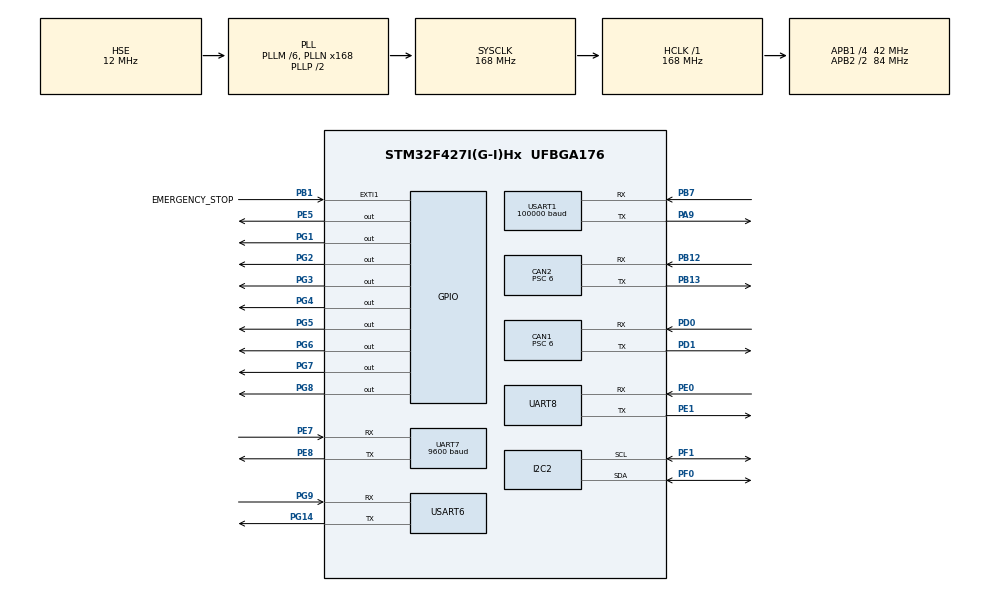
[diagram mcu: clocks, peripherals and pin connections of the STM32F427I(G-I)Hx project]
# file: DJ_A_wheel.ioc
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CAN1.BS1=CAN_BS1_5TQ
CAN1.CalculateBaudRate=1000000
CAN1.CalculateTimeBit=1000
CAN1.CalculateTimeQuantum=142.85714285714286
CAN1.Prescaler=6
CAN2.BS1=CAN_BS1_5TQ
CAN2.CalculateBaudRate=1000000
CAN2.CalculateTimeBit=1000
CAN2.CalculateTimeQuantum=142.85714285714286
CAN2.Prescaler=6
Dma.Request0=USART1_RX
Dma.Request1=USART6_TX
Dma.Request2=UART8_TX
Dma.UART8_TX.2.Direction=DMA_MEMORY_TO_PERIPH
Dma.UART8_TX.2.FIFOMode=DMA_FIFOMODE_DISABLE
Dma.UART8_TX.2.Instance=DMA1_Stream0
Dma.UART8_TX.2.MemDataAlignment=DMA_MDATAALIGN_BYTE
Dma.UART8_TX.2.MemInc=DMA_MINC_ENABLE
Dma.UART8_TX.2.Mode=DMA_NORMAL
Dma.UART8_TX.2.PeriphDataAlignment=DMA_PDATAALIGN_BYTE
Dma.UART8_TX.2.PeriphInc=DMA_PINC_DISABLE
Dma.UART8_TX.2.Priority=DMA_PRIORITY_LOW
Dma.USART1_RX.0.Direction=DMA_PERIPH_TO_MEMORY
Dma.USART1_RX.0.FIFOMode=DMA_FIFOMODE_DISABLE
Dma.USART1_RX.0.Instance=DMA2_Stream2
Dma.USART1_RX.0.MemDataAlignment=DMA_MDATAALIGN_BYTE
Dma.USART1_RX.0.MemInc=DMA_MINC_ENABLE
Dma.USART1_RX.0.Mode=DMA_NORMAL
Dma.USART1_RX.0.PeriphDataAlignment=DMA_PDATAALIGN_BYTE
Dma.USART1_RX.0.PeriphInc=DMA_PINC_DISABLE
Dma.USART1_RX.0.Priority=DMA_PRIORITY_LOW
Dma.USART6_TX.1.Direction=DMA_MEMORY_TO_PERIPH
Dma.USART6_TX.1.FIFOMode=DMA_FIFOMODE_DISABLE
Dma.USART6_TX.1.Instance=DMA2_Stream6
Dma.USART6_TX.1.MemDataAlignment=DMA_MDATAALIGN_BYTE
Dma.USART6_TX.1.MemInc=DMA_MINC_ENABLE
Dma.USART6_TX.1.Mode=DMA_NORMAL
Dma.USART6_TX.1.PeriphDataAlignment=DMA_PDATAALIGN_BYTE
Dma.USART6_TX.1.PeriphInc=DMA_PINC_DISABLE
Dma.USART6_TX.1.Priority=DMA_PRIORITY_LOW
Mcu.Family=STM32F4
Mcu.Name=STM32F427I(G-I)Hx
Mcu.Package=UFBGA176
NVIC.CAN1_RX0_IRQn=true\:1\:0\:true\:false\:true\:true\:true\:true
NVIC.CAN2_RX0_IRQn=true\:0\:0\:false\:false\:true\:true\:true\:true
NVIC.DMA1_Stream0_IRQn=true\:0\:0\:false\:false\:true\:false\:true\:true
NVIC.DMA2_Stream2_IRQn=true\:0\:0\:false\:false\:true\:false\:true\:true
NVIC.DMA2_Stream6_IRQn=true\:0\:0\:false\:false\:true\:false\:true\:true
NVIC.EXTI1_IRQn=true\:7\:0\:true\:false\:true\:true\:true\:true
NVIC.I2C2_EV_IRQn=true\:0\:0\:false\:false\:true\:true\:true\:true
NVIC.PriorityGroup=NVIC_PRIORITYGROUP_4
NVIC.TIM3_IRQn=true\:3\:0\:true\:false\:true\:true\:true\:true
NVIC.TIM8_TRG_COM_TIM14_IRQn=true\:2\:0\:true\:false\:true\:true\:true\:true
NVIC.UART7_IRQn=true\:5\:0\:true\:false\:true\:true\:true\:true
NVIC.UART8_IRQn=true\:0\:0\:false\:false\:true\:true\:true\:true
NVIC.USART1_IRQn=true\:0\:0\:false\:false\:true\:true\:true\:true
NVIC.USART6_IRQn=true\:0\:0\:false\:false\:true\:true\:true\:true
PA13.Mode=Serial_Wire
PA13.Signal=SYS_JTMS-SWDIO
PA14.Mode=Serial_Wire
PA14.Signal=SYS_JTCK-SWCLK
PA6.Signal=S_TIM3_CH1
PA7.Signal=S_TIM3_CH2
PA9.Mode=Asynchronous
PA9.Signal=USART1_TX
PB1.GPIO_Label=EMERGENCY_STOP
PB1.GPIO_ModeDefaultEXTI=GPIO_MODE_IT_FALLING
PB1.GPIO_PuPd=GPIO_PULLUP
PB1.Signal=GPXTI1
PB12.Mode=CAN_Activate
PB12.Signal=CAN2_RX
PB13.Mode=CAN_Activate
PB13.Signal=CAN2_TX
PB7.Mode=Asynchronous
PB7.Signal=USART1_RX
PD0.GPIO_PuPd=GPIO_PULLUP
PD0.Mode=CAN_Activate
PD0.Signal=CAN1_RX
PD1.GPIO_PuPd=GPIO_NOPULL
PD1.Mode=CAN_Activate
PD1.Signal=CAN1_TX
PE0.Mode=Asynchronous
PE0.Signal=UART8_RX
PE1.Mode=Asynchronous
PE1.Signal=UART8_TX
PE5.GPIO_Speed=GPIO_SPEED_FREQ_HIGH
PE5.PinState=GPIO_PIN_SET
PE5.Signal=GPIO_Output
PE7.Mode=Asynchronous
PE7.Signal=UART7_RX
PE8.Mode=Asynchronous
PE8.Signal=UART7_TX
PF0.Mode=I2C
PF0.Signal=I2C2_SDA
PF1.Mode=I2C
PF1.Signal=I2C2_SCL
PG1.PinState=GPIO_PIN_SET
PG1.Signal=GPIO_Output
PG14.Mode=Asynchronous
PG14.Signal=USART6_TX
PG2.PinState=GPIO_PIN_SET
PG2.Signal=GPIO_Output
PG3.PinState=GPIO_PIN_SET
PG3.Signal=GPIO_Output
PG4.PinState=GPIO_PIN_SET
PG4.Signal=GPIO_Output
PG5.PinState=GPIO_PIN_SET
PG5.Signal=GPIO_Output
PG6.PinState=GPIO_PIN_SET
PG6.Signal=GPIO_Output
PG7.PinState=GPIO_PIN_SET
PG7.Signal=GPIO_Output
PG8.PinState=GPIO_PIN_SET
PG8.Signal=GPIO_Output
PG9.Mode=Asynchronous
PG9.Signal=USART6_RX
PH0/OSC_IN.Mode=HSE-External-Oscillator
PH0/OSC_IN.Signal=RCC_OSC_IN
PH1/OSC_OUT.Mode=HSE-External-Oscillator
PH1/OSC_OUT.Signal=RCC_OSC_OUT
ProjectManager.HeapSize=0x200
ProjectManager.StackSize=0x400
ProjectManager.TargetToolchain=CMake
RCC.48MHZClocksFreq_Value=84000000
RCC.AHBFreq_Value=168000000
RCC.APB1CLKDivider=RCC_HCLK_DIV4
RCC.APB1Freq_Value=42000000
RCC.APB1TimFreq_Value=84000000
RCC.APB2CLKDivider=RCC_HCLK_DIV2
RCC.APB2Freq_Value=84000000
RCC.APB2TimFreq_Value=168000000
RCC.CortexFreq_Value=168000000
RCC.HCLKFreq_Value=168000000
RCC.HSE_VALUE=12000000
RCC.HSI_VALUE=16000000
RCC.LSE_VALUE=32768
RCC.PLLM=6
RCC.PLLN=168
RCC.PLLSourceVirtual=RCC_PLLSOURCE_HSE
RCC.SYSCLKFreq_VALUE=168000000
RCC.SYSCLKSource=RCC_SYSCLKSOURCE_PLLCLK
RCC.VCOOutputFreq_Value=336000000
SH.S_TIM3_CH1.0=TIM3_CH1
SH.S_TIM3_CH2.0=TIM3_CH2
TIM14.AutoReloadPreload=TIM_AUTORELOAD_PRELOAD_DISABLE
TIM14.Period=9999
TIM14.Prescaler=83
TIM3.AutoReloadPreload=TIM_AUTORELOAD_PRELOAD_DISABLE
TIM3.Period=9999
TIM3.Prescaler=83
UART7.BaudRate=9600
UART7.VirtualMode=Asynchronous
UART8.VirtualMode=Asynchronous
USART1.BaudRate=100000
USART1.Mode=MODE_RX
USART1.Parity=PARITY_EVEN
USART1.VirtualMode=VM_ASYNC
USART1.WordLength=WORDLENGTH_9B
USART6.VirtualMode=VM_ASYNC
VP_TIM14_VS_ClockSourceINT.Mode=Enable_Timer
VP_TIM3_VS_ClockSourceINT.Mode=Internal
board=custom

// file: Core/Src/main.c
/* USER CODE BEGIN Header */
/**
  ******************************************************************************
  * @file           : main.c
  * @brief          : Main program body
  ******************************************************************************
  * @attention
  *
  * Copyright (c) 2025 STMicroelectronics.
  * All rights reserved.
  *
  * This software is licensed under terms that can be found in the LICENSE file
  * in the root directory of this software component.
  * If no LICENSE file comes with this software, it is provided AS-IS.
  *
  ******************************************************************************
  */
/* USER CODE END Header */
#include "main.h"
#include "can.h"
#include "dma.h"
#include "i2c.h"
#include "tim.h"
#include "usart.h"
#include "gpio.h"

/* USER CODE BEGIN Includes */
#include "PID_TIM.h"
#include "includes.h"
#include "pg_led.h"
#include "imu.h"
/* USER CODE END Includes */

void SystemClock_Config(void);

int main(void)
{

  /* MCU Configuration--------------------------------------------------------*/

  /* Reset of all peripherals, Initializes the Flash interface and the Systick. */
  HAL_Init();

  /* Configure the system clock */
  SystemClock_Config();

  /* Initialize all configured peripherals */
  /* USER CODE BEGIN 2 */
  MX_GPIO_Init();
  MX_DMA_Init();
  MX_CAN1_Init();
  MX_CAN2_Init();
	MX_USART1_UART_Init();   // 遥控
  MX_USART6_UART_Init();   // debug
  MX_UART7_Init();         // IMU
  MX_UART8_Init();
  MX_I2C2_Init();

  All_Init();              // CAN filter, PID, RC DMA �?

  IMU_UART_Init(&huart7);
  HAL_Delay(2000);      // �?IMU 有有效帧
  HeadingHold_Init();

  DebugTune_Init();
  MX_TIM3_Init();
  MX_TIM14_Init();

  /* USER CODE END 2 */

  /* Infinite loop */
  while (1)
  {

    /* USER CODE BEGIN 3 */
    DebugTune_Task();
  }
  /* USER CODE END 3 */
}

void SystemClock_Config(void)
{
  RCC_OscInitTypeDef RCC_OscInitStruct = {0};
  RCC_ClkInitTypeDef RCC_ClkInitStruct = {0};

  /** Configure the main internal regulator output voltage
  */
  __HAL_RCC_PWR_CLK_ENABLE();
  __HAL_PWR_VOLTAGESCALING_CONFIG(PWR_REGULATOR_VOLTAGE_SCALE1);

  /** Initializes the RCC Oscillators according to the specified parameters
  * in the RCC_OscInitTypeDef structure.
  */
  RCC_OscInitStruct.OscillatorType = RCC_OSCILLATORTYPE_HSE;
  RCC_OscInitStruct.HSEState = RCC_HSE_ON;
  RCC_OscInitStruct.PLL.PLLState = RCC_PLL_ON;
  RCC_OscInitStruct.PLL.PLLSource = RCC_PLLSOURCE_HSE;
  RCC_OscInitStruct.PLL.PLLM = 6;
  RCC_OscInitStruct.PLL.PLLN = 168;
  RCC_OscInitStruct.PLL.PLLP = RCC_PLLP_DIV2;
  RCC_OscInitStruct.PLL.PLLQ = 4;
  if (HAL_RCC_OscConfig(&RCC_OscInitStruct) != HAL_OK)
  {
    Error_Handler();
  }

  /** Initializes the CPU, AHB and APB buses clocks
  */
  RCC_ClkInitStruct.ClockType = RCC_CLOCKTYPE_HCLK|RCC_CLOCKTYPE_SYSCLK
                              |RCC_CLOCKTYPE_PCLK1|RCC_CLOCKTYPE_PCLK2;
  RCC_ClkInitStruct.SYSCLKSource = RCC_SYSCLKSOURCE_PLLCLK;
  RCC_ClkInitStruct.AHBCLKDivider = RCC_SYSCLK_DIV1;
  RCC_ClkInitStruct.APB1CLKDivider = RCC_HCLK_DIV4;
  RCC_ClkInitStruct.APB2CLKDivider = RCC_HCLK_DIV2;

  if (HAL_RCC_ClockConfig(&RCC_ClkInitStruct, FLASH_LATENCY_5) != HAL_OK)
  {
    Error_Handler();
  }
}

void Error_Handler(void)
{
  __disable_irq();
  while (1)
  {
  }
}
